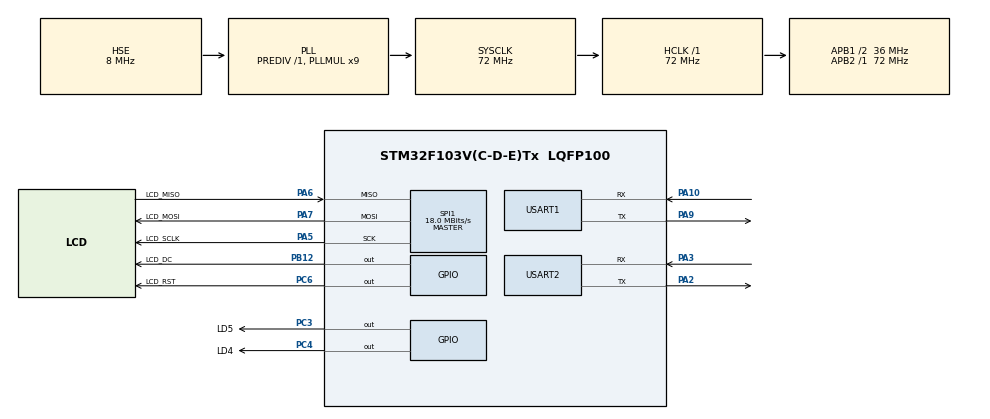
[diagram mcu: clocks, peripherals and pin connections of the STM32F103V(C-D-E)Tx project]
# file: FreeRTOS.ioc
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Dma.Request0=SPI1_TX
Dma.Request1=SPI1_RX
Dma.SPI1_RX.1.Direction=DMA_PERIPH_TO_MEMORY
Dma.SPI1_RX.1.Instance=DMA1_Channel2
Dma.SPI1_RX.1.MemDataAlignment=DMA_MDATAALIGN_BYTE
Dma.SPI1_RX.1.MemInc=DMA_MINC_ENABLE
Dma.SPI1_RX.1.Mode=DMA_NORMAL
Dma.SPI1_RX.1.PeriphDataAlignment=DMA_PDATAALIGN_BYTE
Dma.SPI1_RX.1.PeriphInc=DMA_PINC_DISABLE
Dma.SPI1_RX.1.Priority=DMA_PRIORITY_LOW
Dma.SPI1_TX.0.Direction=DMA_MEMORY_TO_PERIPH
Dma.SPI1_TX.0.Instance=DMA1_Channel3
Dma.SPI1_TX.0.MemDataAlignment=DMA_MDATAALIGN_BYTE
Dma.SPI1_TX.0.MemInc=DMA_MINC_ENABLE
Dma.SPI1_TX.0.Mode=DMA_NORMAL
Dma.SPI1_TX.0.PeriphDataAlignment=DMA_PDATAALIGN_BYTE
Dma.SPI1_TX.0.PeriphInc=DMA_PINC_DISABLE
Dma.SPI1_TX.0.Priority=DMA_PRIORITY_LOW
Mcu.Family=STM32F1
Mcu.Name=STM32F103V(C-D-E)Tx
Mcu.Package=LQFP100
NVIC.DMA1_Channel2_IRQn=true\:5\:0\:true\:false\:true\:false\:true
NVIC.DMA1_Channel3_IRQn=true\:5\:0\:true\:false\:true\:false\:true
NVIC.PriorityGroup=NVIC_PRIORITYGROUP_4
NVIC.SPI1_IRQn=true\:5\:0\:true\:false\:true\:true\:true
NVIC.TIM1_UP_IRQn=true\:0\:0\:false\:false\:true\:false\:true
NVIC.TIM2_IRQn=true\:5\:0\:true\:false\:true\:true\:true
NVIC.TimeBase=TIM1_UP_IRQn
NVIC.TimeBaseIP=TIM1
NVIC.USART1_IRQn=true\:5\:0\:true\:false\:true\:true\:true
NVIC.USART2_IRQn=true\:5\:0\:true\:false\:true\:true\:true
OSC_IN.Mode=HSE-External-Oscillator
OSC_IN.Signal=RCC_OSC_IN
OSC_OUT.Mode=HSE-External-Oscillator
OSC_OUT.Signal=RCC_OSC_OUT
PA10.Mode=Asynchronous
PA10.Signal=USART1_RX
PA13.Mode=Serial_Wire
PA13.Signal=SYS_JTMS-SWDIO
PA14.Mode=Serial_Wire
PA14.Signal=SYS_JTCK-SWCLK
PA2.Mode=Asynchronous
PA2.Signal=USART2_TX
PA3.Mode=Asynchronous
PA3.Signal=USART2_RX
PA5.GPIO_Label=LCD_SCLK
PA5.Mode=Full_Duplex_Master
PA5.Signal=SPI1_SCK
PA6.GPIO_Label=LCD_MISO
PA6.Mode=Full_Duplex_Master
PA6.Signal=SPI1_MISO
PA7.GPIO_Label=LCD_MOSI
PA7.Mode=Full_Duplex_Master
PA7.Signal=SPI1_MOSI
PA9.Mode=Asynchronous
PA9.Signal=USART1_TX
PB12.GPIO_Label=LCD_DC
PB12.GPIO_PuPd=GPIO_PULLUP
PB12.GPIO_Speed=GPIO_SPEED_FREQ_HIGH
PB12.PinState=GPIO_PIN_SET
PB12.Signal=GPIO_Output
PC3.GPIO_Label=LD5
PC3.GPIO_PuPd=GPIO_PULLUP
PC3.GPIO_Speed=GPIO_SPEED_FREQ_HIGH
PC3.PinState=GPIO_PIN_SET
PC3.Signal=GPIO_Output
PC4.GPIO_Label=LD4
PC4.GPIO_PuPd=GPIO_PULLUP
PC4.GPIO_Speed=GPIO_SPEED_FREQ_HIGH
PC4.PinState=GPIO_PIN_SET
PC4.Signal=GPIO_Output
PC6.GPIO_Label=LCD_RST
PC6.GPIO_PuPd=GPIO_PULLUP
PC6.PinState=GPIO_PIN_SET
PC6.Signal=GPIO_Output
ProjectManager.HeapSize=0x200
ProjectManager.StackSize=0x400
ProjectManager.TargetToolchain=SW4STM32
RCC.AHBFreq_Value=72000000
RCC.APB1CLKDivider=RCC_HCLK_DIV2
RCC.APB1Freq_Value=36000000
RCC.APB1TimFreq_Value=72000000
RCC.APB2Freq_Value=72000000
RCC.APB2TimFreq_Value=72000000
RCC.HCLKFreq_Value=72000000
RCC.PLLMUL=RCC_PLL_MUL9
RCC.PLLSourceVirtual=RCC_PLLSOURCE_HSE
RCC.SYSCLKFreq_VALUE=72000000
RCC.SYSCLKSource=RCC_SYSCLKSOURCE_PLLCLK
RCC.USBFreq_Value=72000000
SPI1.BaudRatePrescaler=SPI_BAUDRATEPRESCALER_4
SPI1.CalculateBaudRate=18.0 MBits/s
SPI1.Direction=SPI_DIRECTION_2LINES
SPI1.Mode=SPI_MODE_MASTER
SPI1.VirtualType=VM_MASTER
TIM2.Period=49
TIM2.Prescaler=71
USART1.VirtualMode=VM_ASYNC
USART2.VirtualMode=VM_ASYNC
VP_SYS_VS_tim1.Mode=TIM1
VP_TIM2_VS_ClockSourceINT.Mode=Internal
board=custom

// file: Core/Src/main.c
/* USER CODE BEGIN Header */
/**
  ******************************************************************************
  * @file           : main.c
  * @brief          : Main program body
  ******************************************************************************
  * @attention
  *
  * <h2><center>&copy; Copyright (c) 2023 STMicroelectronics.
  * All rights reserved.</center></h2>
  *
  * This software component is licensed by ST under Ultimate Liberty license
  * SLA0044, the "License"; You may not use this file except in compliance with
  * the License. You may obtain a copy of the License at:
  *                             www.st.com/SLA0044
  *
  ******************************************************************************
  */
/* USER CODE END Header */
#include "main.h"
#include "dma.h"
#include "spi.h"
#include "tim.h"
#include "usart.h"
#include "gpio.h"

/* USER CODE BEGIN Includes */

#include "stdio.h"
#include "app.h"
#include "app_task.h"
#include "LCD_Test.h"
#include "string.h"
#include "mbport.h"
#include "mb.h"

/* USER CODE END Includes */

void SystemClock_Config(void);

/* USER CODE BEGIN 0 */

#ifdef __GNUC__
#define PUTCHAR_PROTOTYPE int __io_putchar(int ch)
#else
#define PUTCHAR_PROTOTYPE int fputc(int ch, FILE *f)
#endif

PUTCHAR_PROTOTYPE {
    HAL_UART_Transmit(&UART_PRINT, (uint8_t *) &ch, 1, 0xFFFF);

    return ch;
}

/* USER CODE END 0 */

int main(void)
{

  /* MCU Configuration--------------------------------------------------------*/

  /* Reset of all peripherals, Initializes the Flash interface and the Systick. */
  HAL_Init();

  /* Configure the system clock */
  SystemClock_Config();

  /* Initialize all configured peripherals */
  MX_GPIO_Init();
  MX_DMA_Init();
  MX_USART1_UART_Init();
  MX_SPI1_Init();
  MX_TIM2_Init();
  MX_USART2_UART_Init();
  /* USER CODE BEGIN 2 */

    App_ELog_Init();
    App_BSP_Init();
#if __DEBUG_DRIVERS__ == 1
    extern void ModbusRTUTask(void const *argument);
    ModbusRTUTask(NULL);
#else
    osTaskInit();
#endif

  /* USER CODE END 2 */

  /* Infinite loop */
  /* USER CODE BEGIN WHILE */
    while (1) {
        printf("loop\n");
        HAL_Delay(1000);
    /* USER CODE END WHILE */

    }
}

void SystemClock_Config(void)
{
  RCC_OscInitTypeDef RCC_OscInitStruct = {0};
  RCC_ClkInitTypeDef RCC_ClkInitStruct = {0};

  /** Initializes the RCC Oscillators according to the specified parameters
  * in the RCC_OscInitTypeDef structure.
  */
  RCC_OscInitStruct.OscillatorType = RCC_OSCILLATORTYPE_HSE;
  RCC_OscInitStruct.HSEState = RCC_HSE_ON;
  RCC_OscInitStruct.HSEPredivValue = RCC_HSE_PREDIV_DIV1;
  RCC_OscInitStruct.HSIState = RCC_HSI_ON;
  RCC_OscInitStruct.PLL.PLLState = RCC_PLL_ON;
  RCC_OscInitStruct.PLL.PLLSource = RCC_PLLSOURCE_HSE;
  RCC_OscInitStruct.PLL.PLLMUL = RCC_PLL_MUL9;
  if (HAL_RCC_OscConfig(&RCC_OscInitStruct) != HAL_OK)
  {
    Error_Handler();
  }
  /** Initializes the CPU, AHB and APB buses clocks
  */
  RCC_ClkInitStruct.ClockType = RCC_CLOCKTYPE_HCLK|RCC_CLOCKTYPE_SYSCLK
                              |RCC_CLOCKTYPE_PCLK1|RCC_CLOCKTYPE_PCLK2;
  RCC_ClkInitStruct.SYSCLKSource = RCC_SYSCLKSOURCE_PLLCLK;
  RCC_ClkInitStruct.AHBCLKDivider = RCC_SYSCLK_DIV1;
  RCC_ClkInitStruct.APB1CLKDivider = RCC_HCLK_DIV2;
  RCC_ClkInitStruct.APB2CLKDivider = RCC_HCLK_DIV1;

  if (HAL_RCC_ClockConfig(&RCC_ClkInitStruct, FLASH_LATENCY_2) != HAL_OK)
  {
    Error_Handler();
  }
}

 /**
  * @brief  Period elapsed callback in non blocking mode
  * @note   This function is called  when TIM1 interrupt took place, inside
  * HAL_TIM_IRQHandler(). It makes a direct call to HAL_IncTick() to increment
  * a global variable "uwTick" used as application time base.
  * @param  htim : TIM handle
  * @retval None
  */
void HAL_TIM_PeriodElapsedCallback(TIM_HandleTypeDef *htim)
{
  if (htim->Instance == TIM1) {
    HAL_IncTick();
  }
  /* USER CODE BEGIN Callback 1 */
     if (htim->Instance == TIM_MODBUS.Instance) {

         pxMBPortCBTimerExpired();

     }

  /* USER CODE END Callback 1 */
}

void Error_Handler(void)
{
    __disable_irq();
    while (1) {
    }
}

/************************ (C) COPYRIGHT STMicroelectronics *****END OF FILE****/
